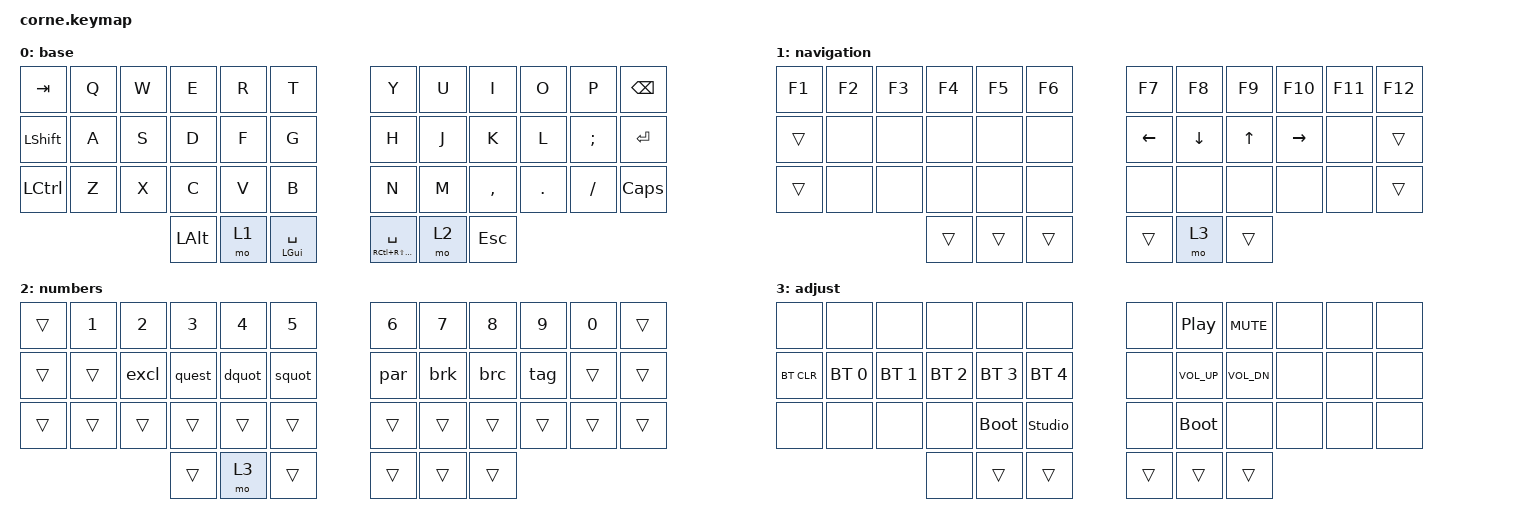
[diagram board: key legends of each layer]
/*
 * Copyright (c) 2020 The ZMK Contributors
 *
 * SPDX-License-Identifier: MIT
 */

#include <behaviors.dtsi>
#include <dt-bindings/zmk/keys.h>
#include <dt-bindings/zmk/bt.h>

&mt {
  flavor = "tap-preferred";
  // Enables repeat on tap + tap-hold
  // Source: https://zmk.dev/docs/behaviors/hold-tap#quick-tap-ms
  quick-tap-ms = <200>;
};

/ {
  macros {
    brc: brc {
      compatible = "zmk,behavior-macro"; 
      bindings = <&kp LBRC &kp RBRC &kp LEFT>;
      #binding-cells = <0>;
    };
    brk: brk {
      compatible = "zmk,behavior-macro"; 
      bindings = <&kp LBKT &kp RBKT &kp LEFT>;
      #binding-cells = <0>;
    };
    par: par {
      compatible = "zmk,behavior-macro"; 
      bindings = <&kp LPAR &kp RPAR &kp LEFT>;
      #binding-cells = <0>;
    };
    squot: squot {
      compatible = "zmk,behavior-macro"; 
      bindings = <&kp SQT &kp SQT &kp LEFT>;
      #binding-cells = <0>;
    };
    dquot: dquot {
      compatible = "zmk,behavior-macro"; 
      bindings = <&kp DQT &kp DQT &kp LEFT>;
      #binding-cells = <0>;
    };
    quest: quest {
      compatible = "zmk,behavior-macro"; 
      bindings = <&kp LS(LA(FSLH)) &kp QMARK &kp LEFT>;
      #binding-cells = <0>;
    };
    excl: excl {
      compatible = "zmk,behavior-macro"; 
      bindings = <&kp LA(N1) &kp EXCL &kp LEFT>;
      #binding-cells = <0>;
    };
    tag: tag {
      compatible = "zmk,behavior-macro"; 
      bindings = <&kp LS(COMMA) &kp LS(DOT) &kp LEFT>;
      #binding-cells = <0>;
    };
  };
  combos {
    compatible = "zmk,combos";
    // Enter bootloader in left half
    lreset {
      key-positions = <1 2 3 4>;
      bindings = <&bootloader>;
    };
    // Enter bootloader in right half
    rreset {
      key-positions = <7 8 9 10>;
      bindings = <&bootloader>;
    };
    // COMMON PROGRAMMING SYMBOLS
    lexcl {
      key-positions = <2 3>;
      bindings = <&kp LA(N1)>;
    };
    rexcl {
      key-positions = <3 4>;
      bindings = <&kp EXCL>;
    };
    grave {
      key-positions = <2 4>;
      bindings = <&kp GRAVE>;
    };
    tilde {
      key-positions = <2 3 4>;
      bindings = <&kp TILDE>;
    };
    lques {
      key-positions = <14 15>;
      bindings = <&kp LS(LA(FSLH))>;
    };
    rques {
      key-positions = <15 16>;
      bindings = <&kp QMARK>;
    };
    minus {
      key-positions = <26 27>;
      bindings = <&kp MINUS>;
    };
    plus {
      key-positions = <27 28>;
      bindings = <&kp PLUS>;
    };
    caret {
      key-positions = <14 16>;
      bindings = <&kp CARET>;
    };
    dollar {
      key-positions = <14 15 16>;
      bindings = <&kp DLLR>;
    };
    lpar {
      key-positions = <7 8>;
      bindings = <&kp LPAR>;
    };
    rpar {
      key-positions = <8 9>;
      bindings = <&kp RPAR>;
    };
    lbrk {
      key-positions = <19 20>;
      bindings = <&kp LBKT>;
    };
    rbrk {
      key-positions = <20 21>;
      bindings = <&kp RBKT>;
    };
    lbrc {
      key-positions = <31 32>;
      bindings = <&kp LBRC>;
    };
    rbrc {
      key-positions = <32 33>;
      bindings = <&kp RBRC>;
    };
    asterisk {
      key-positions = <31 33>;
      bindings = <&kp ASTRK>;
    };
    sqt {
      key-positions = <7 9>;
      bindings = <&kp SQT>;
    };
    dqt {
      key-positions = <7 8 9>;
      bindings = <&kp DQT>;
    };
    hash {
      key-positions = <31 32 33>;
      bindings = <&kp HASH>;
    };
    equal {
      key-positions = <19 21>;
      bindings = <&kp EQUAL>;
    };
    colon {
      key-positions = <19 20 21>;
      bindings = <&kp COLON>;
    };
    underscore {
      key-positions = <28 31>;
      bindings = <&kp UNDER>;
    };
    at {
      key-positions = <17 18>;
      bindings = <&kp AT>;
    };
    or {
      key-positions = <4 7>;
      bindings = <&kp PIPE>; 
    };
    and {
      key-positions = <16 19>;
      bindings = <&kp AMPS>;
    };
    fslh {
      key-positions = <19 8>;
      bindings = <&kp FSLH>;
    };
    bslh {
      key-positions = <8 21>;
      bindings = <&kp BSLH>;
    };
    prcnt {
      key-positions = <7 33>;
      bindings = <&kp PRCNT>;
    };
  };
  keymap {
    compatible = "zmk,keymap";
    base {
      bindings = <
           &kp TAB       &kp Q         &kp W         &kp E         &kp R         &kp T             &kp Y         &kp U         &kp I         &kp O         &kp P         &kp BSPC
           &kp LSHFT     &kp A         &kp S         &kp D         &kp F         &kp G             &kp H         &kp J         &kp K         &kp L         &kp SEMI      &kp RET
           &kp LCTRL     &kp Z         &kp X         &kp C         &kp V         &kp B             &kp N         &kp M         &kp COMMA     &kp DOT       &kp FSLH      &kp CAPS
                                                     &kp LALT      &mo 1         &mt LGUI SPACE    &mt RC(RS(RA(RCMD))) SPACE   &mo 2         &kp ESC
      >;
    };
    navigation {
      bindings = <
           &kp F1        &kp F2        &kp F3        &kp F4        &kp F5        &kp F6            &kp F7        &kp F8        &kp F9        &kp F10       &kp F11       &kp F12
           &trans        &none         &none         &none         &none         &none             &kp LEFT      &kp DOWN      &kp UP        &kp RIGHT     &none         &trans
           &trans        &none         &none         &none         &none         &none             &none         &none         &none         &none         &none         &trans
                                                     &trans        &trans        &trans            &trans        &mo 3         &trans
      >;
    };
    numbers {
      bindings = <
           &trans        &kp N1        &kp N2        &kp N3        &kp N4        &kp N5            &kp N6        &kp N7        &kp N8        &kp N9        &kp N0        &trans
           &trans        &trans        &excl         &quest        &dquot        &squot            &par          &brk          &brc          &tag          &trans        &trans
           &trans        &trans        &trans        &trans        &trans        &trans            &trans        &trans        &trans        &trans        &trans        &trans
                                                     &trans        &mo 3         &trans            &trans        &trans        &trans
      >;
    };
    adjust {
      bindings = <
           &none         &none         &none         &none         &none         &none             &none         &kp C_PP      &kp C_MUTE    &none         &none         &none
           &bt BT_CLR    &bt BT_SEL 0  &bt BT_SEL 1  &bt BT_SEL 2  &bt BT_SEL 3  &bt BT_SEL 4      &none         &kp C_VOL_UP  &kp C_VOL_DN  &none         &none         &none
           &none         &none         &none         &none         &bootloader   &studio_unlock    &none         &bootloader   &none         &none         &none         &none
                                                     &none         &trans        &trans            &trans        &trans        &trans
      >;
    };
  };
};
